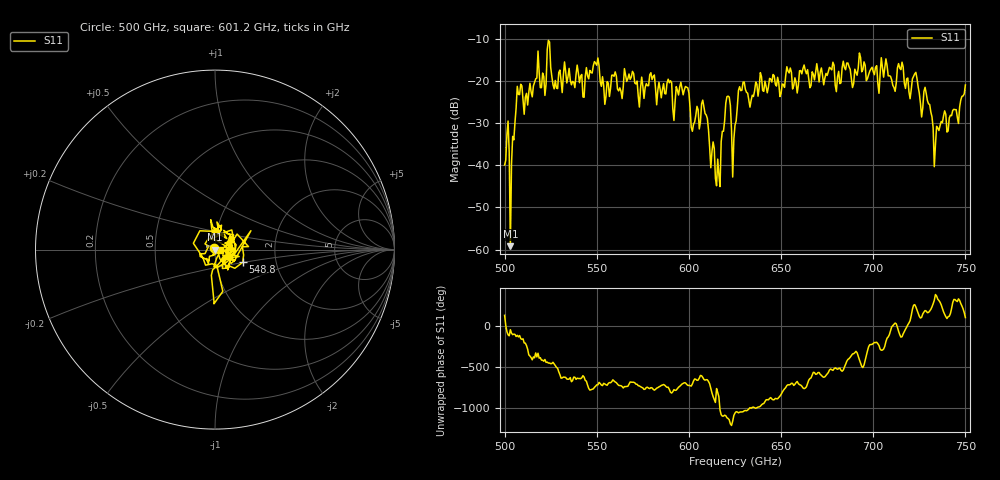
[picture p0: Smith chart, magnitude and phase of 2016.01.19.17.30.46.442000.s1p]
!Created with skrf (http://scikit-rf.org).
# GHz S RI R 50.0
!freq ReS11 ImS11
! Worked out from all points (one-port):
!   401 points, 500 GHz to 750 GHz, reference 50 ohm
!   lowest |S11| = -59.2 dB at 503.1 GHz (marker M1), VSWR 1.00, Z = 50.1 - j0.0811 ohm
!   |S11| at or under -10 dB: start of sweep to end of sweep
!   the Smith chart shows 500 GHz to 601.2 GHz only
!   S11 on the Smith chart (normalised r, x): 500 GHz: 0.99, +0.02; 548.8 GHz: 1.35, -0.20; 601.2 GHz: 1.06, -0.01
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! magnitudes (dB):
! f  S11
! 500 GHz  -39.9
! 503.1 GHz  -59.2
! 504.4 GHz  -33.1
! 508.1 GHz  -23.2
! 521.2 GHz  -18.9
! 524.4 GHz  -10.8
! 527.5 GHz  -19.9
! 531.2 GHz  -22.8
! 548.8 GHz  -15.4
! 562.5 GHz  -21.6
! 568.8 GHz  -19.1
! 593.8 GHz  -22.2
! 598.8 GHz  -21.5
! 601.2 GHz  -31.0
! 608.1 GHz  -26.1
! 615.6 GHz  -38.5
! 621.2 GHz  -23.6
! 625 GHz  -30.5
! 628.8 GHz  -22.2
! 656.2 GHz  -21.9
! 687.5 GHz  -17.3
! 705.6 GHz  -19.1
! 711.2 GHz  -21.6
! 715 GHz  -17.3
! 718.8 GHz  -19.3
! 728.8 GHz  -23.0
! 734.4 GHz  -30.8
! 750 GHz  -20.9
